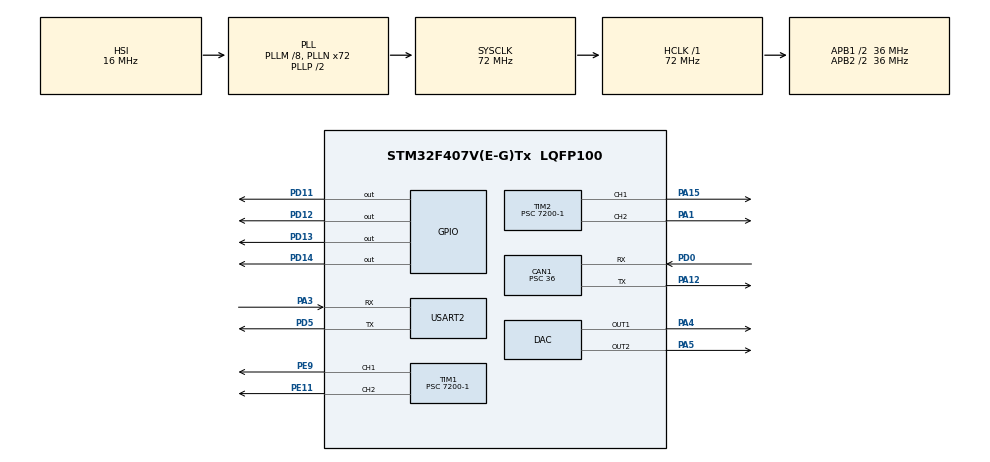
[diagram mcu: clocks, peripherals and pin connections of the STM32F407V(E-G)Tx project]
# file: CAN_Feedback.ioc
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CAN1.BS1=CAN_BS1_2TQ
CAN1.CalculateBaudRate=250000
CAN1.CalculateTimeBit=4000
CAN1.CalculateTimeQuantum=1000.0
CAN1.Prescaler=36
Mcu.Family=STM32F4
Mcu.Name=STM32F407V(E-G)Tx
Mcu.Package=LQFP100
NVIC.CAN1_RX0_IRQn=true\:0\:0\:false\:false\:true\:true\:true\:true
NVIC.PriorityGroup=NVIC_PRIORITYGROUP_0
NVIC.TIM3_IRQn=true\:0\:0\:false\:false\:true\:true\:true\:true
NVIC.USART2_IRQn=true\:0\:0\:false\:false\:true\:true\:true\:true
PA1.Signal=S_TIM2_CH2
PA12.Mode=CAN_Activate
PA12.Signal=CAN1_TX
PA15.Signal=S_TIM2_CH1_ETR
PA3.Mode=Asynchronous
PA3.Signal=USART2_RX
PA4.Signal=COMP_DAC1_group
PA5.Signal=COMP_DAC2_group
PD0.Mode=CAN_Activate
PD0.Signal=CAN1_RX
PD11.Signal=GPIO_Output
PD12.Signal=GPIO_Output
PD13.Signal=GPIO_Output
PD14.Signal=GPIO_Output
PD5.Mode=Asynchronous
PD5.Signal=USART2_TX
PE11.Signal=S_TIM1_CH2
PE9.Signal=S_TIM1_CH1
ProjectManager.HeapSize=0x200
ProjectManager.StackSize=0x400
ProjectManager.TargetToolchain=STM32CubeIDE
RCC.48MHZClocksFreq_Value=20571428.57142857
RCC.AHBFreq_Value=72000000
RCC.APB1CLKDivider=RCC_HCLK_DIV2
RCC.APB1Freq_Value=36000000
RCC.APB1TimFreq_Value=72000000
RCC.APB2CLKDivider=RCC_HCLK_DIV2
RCC.APB2Freq_Value=36000000
RCC.APB2TimFreq_Value=72000000
RCC.CortexFreq_Value=72000000
RCC.HCLKFreq_Value=72000000
RCC.HSE_VALUE=8000000
RCC.HSI_VALUE=16000000
RCC.LSE_VALUE=32768
RCC.PLLM=8
RCC.PLLN=72
RCC.PLLQ=7
RCC.PWREXT_OverDrive=PWREXT_OverDrive_DESACTIVATED
RCC.SYSCLKFreq_VALUE=72000000
RCC.SYSCLKSource=RCC_SYSCLKSOURCE_PLLCLK
RCC.VCOOutputFreq_Value=144000000
SH.COMP_DAC1_group.0=DAC_OUT1,DAC_OUT1
SH.COMP_DAC2_group.0=DAC_OUT2,DAC_OUT2
SH.S_TIM1_CH1.0=TIM1_CH1,PWM Generation1 CH1
SH.S_TIM1_CH2.0=TIM1_CH2,PWM Generation2 CH2
SH.S_TIM2_CH1_ETR.0=TIM2_CH1,PWM Generation1 CH1
SH.S_TIM2_CH2.0=TIM2_CH2,PWM Generation2 CH2
TIM1.AutoReloadPreload=TIM_AUTORELOAD_PRELOAD_ENABLE
TIM1.Channel-PWM\ Generation1\ CH1=TIM_CHANNEL_1
TIM1.Channel-PWM\ Generation2\ CH2=TIM_CHANNEL_2
TIM1.Period=20-1
TIM1.Prescaler=7200-1
TIM2.AutoReloadPreload=TIM_AUTORELOAD_PRELOAD_ENABLE
TIM2.Channel-PWM\ Generation1\ CH1=TIM_CHANNEL_1
TIM2.Channel-PWM\ Generation2\ CH2=TIM_CHANNEL_2
TIM2.Period=20-1
TIM2.Prescaler=7200-1
TIM3.Period=7200-1
TIM3.Prescaler=10000-1
USART2.VirtualMode=VM_ASYNC
VP_TIM3_VS_ClockSourceINT.Mode=Internal
board=STM32F407G-DISC1

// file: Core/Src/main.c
/* USER CODE BEGIN Header */
/**
 ******************************************************************************
 * @file           : main.c
 * @brief          : Main program body
 ******************************************************************************
 * @attention
 *
 * Copyright (c) 2022 STMicroelectronics.
 * All rights reserved.
 *
 * This software is licensed under terms that can be found in the LICENSE file
 * in the root directory of this software component.
 * If no LICENSE file comes with this software, it is provided AS-IS.
 *
 ******************************************************************************
 */
/* USER CODE END Header */
#include "main.h"
#include <stdlib.h>

/* USER CODE BEGIN PD */
#define Conv 2.1
/* USER CODE END PD */

typedef struct pidVar {
	float kp;
	float kd;
	float ki;

	int sum;
	int lastError;

	int hardLimitMax;
	int hardLimitMin;

	int speedControl;

} pidVar;
#define maxA 60
#define setA 330

#define STEER_DEADZONE 20
#define ERROR_THRESH 5
CAN_HandleTypeDef hcan1;

DAC_HandleTypeDef hdac;

TIM_HandleTypeDef htim1;
TIM_HandleTypeDef htim2;
TIM_HandleTypeDef htim3;

UART_HandleTypeDef huart2;

/* USER CODE BEGIN PV */
CAN_RxHeaderTypeDef Rxheader;
uint8_t Rxmsg[8];
uint8_t uartbuf[32];
uint8_t uartbufhere[6];
uint16_t limit = 0;
uint16_t ibus_data[6];
uint16_t ch_index[6];
uint16_t bf_index[14];
int angle = 0;
uint16_t angleRec = 0;
uint16_t brake_on = 0;
uint16_t brakeVal = 0;
uint16_t f_sw = 0;
uint16_t r_sw = 0;
float DAC_vol = 0.0;
uint8_t speedlsbl = 0;
uint8_t speedmsbl = 0;
uint16_t speedl = 0;
uint8_t speedlsbr = 0;
uint8_t speedmsbr = 0;
uint8_t voltagemsbl = 0;
uint8_t voltagemsbr = 0;
uint8_t voltagelsbl = 0;
uint8_t voltagelsbr = 0;
uint8_t currentlsbl = 0;
uint8_t currentlsbr = 0;
uint8_t currentmsbl = 0;
uint8_t currentmsbr = 0;
uint16_t speedr = 0;
float currentr = 0;
uint16_t voltager = 0;
float currentl = 0;
uint16_t voltagel = 0;
int speeddif = 0;

float spd = 0;
int steeringFeedback = 0, error = 0;
int steeringCommand = 500, speedCommand = 0, vehicleDir = 0;
float outputSteering, outputHubL, outputHubR;
pidVar pidPot = { 50, 10, 0.1, 0, 0, 1024, -1024, 0 };
pidVar pidHubL = { 2, 10, 0.09, 0, 0, 2000, 0, 1 };
pidVar pidHubR = { 2, 10, 0.09, 0, 0, 2000, 0, 1 };
/* USER CODE END PV */

void SystemClock_Config(void);
static void MX_GPIO_Init(void);
static void MX_DAC_Init(void);
static void MX_TIM2_Init(void);
static void MX_USART2_UART_Init(void);
static void MX_TIM1_Init(void);
static void MX_CAN1_Init(void);
static void MX_TIM3_Init(void);

/* USER CODE BEGIN 0 */

float pidController(pidVar *pid, int error, int errorThresh, int position) {
	if (abs(error) > errorThresh)
		pid->sum += error;
	else if (abs(error) > errorThresh && !pid->speedControl)
		pid->sum = 0;
	float finalVal = pid->kp * error + pid->ki * pid->sum
			+ pid->kd * (error - pid->lastError);
	pid->lastError = error;
	if (finalVal > pid->hardLimitMax)
		return pid->hardLimitMax;
	else if (finalVal < pid->hardLimitMin)
		return pid->hardLimitMin;
	return finalVal;
}

void Steer_left(int angle) {
	HAL_TIM_PWM_Start(&htim2, TIM_CHANNEL_2);
	htim2.Instance->CCR2 = angle;
	htim2.Instance->CCR1 = 0;

}

void Steer_right(int angle) {
	HAL_TIM_PWM_Start(&htim2, TIM_CHANNEL_1);
	htim2.Instance->CCR1 = angle;
	htim2.Instance->CCR2 = 0;
}

void HAL_CAN_RxFifo0MsgPendingCallback(CAN_HandleTypeDef *hcan) {
	HAL_CAN_GetRxMessage(&hcan1, CAN_FILTER_FIFO0, &Rxheader, Rxmsg);
	if (Rxheader.ExtId == 0x0CF11E06) {
		speedlsbl = Rxmsg[0];
		speedmsbl = Rxmsg[1];
		voltagelsbl = Rxmsg[4];
		voltagemsbl = Rxmsg[5];
		currentlsbl = Rxmsg[2];
		currentmsbl = Rxmsg[3];
		speedl = (256) * speedmsbl + speedlsbl;
		voltagel = ((256) * voltagemsbl + voltagelsbl) / 10;
		currentl = ((256) * currentmsbl + currentlsbl) / 10.0;
		outputHubL = pidController(&pidHubL, (speedCommand - speedl),
		ERROR_THRESH, speedl);
		if (vehicleDir == 0) {
			HAL_GPIO_WritePin(GPIOD, GPIO_PIN_12, 1);
			HAL_GPIO_WritePin(GPIOD, GPIO_PIN_14, 0);
		} else if (vehicleDir == 1) {
			HAL_GPIO_WritePin(GPIOD, GPIO_PIN_12, 0);
			HAL_GPIO_WritePin(GPIOD, GPIO_PIN_14, 0);
		}
		HAL_DAC_SetValue(&hdac, DAC_CHANNEL_2, DAC_ALIGN_12B_R, outputHubL);
	} else if (Rxheader.ExtId == 0x0CF11E05) {
		speedlsbr = Rxmsg[0];
		speedmsbr = Rxmsg[1];
		currentlsbr = Rxmsg[2];
		currentmsbr = Rxmsg[3];
		voltagelsbr = Rxmsg[4];
		voltagemsbr = Rxmsg[5];
		voltager = ((256) * voltagemsbr + voltagelsbr) / 10;
		currentr = (((256) * currentmsbr + currentlsbr) / 10.0);
		speedr = (256) * speedmsbr + (speedlsbr);
		outputHubR = pidController(&pidHubR, (speedCommand - speedr),
		ERROR_THRESH, speedr);
		if (vehicleDir == 0) {
			HAL_GPIO_WritePin(GPIOD, GPIO_PIN_12, 1);
			HAL_GPIO_WritePin(GPIOD, GPIO_PIN_14, 0);
		} else if (vehicleDir == 1) {
			HAL_GPIO_WritePin(GPIOD, GPIO_PIN_12, 0);
			HAL_GPIO_WritePin(GPIOD, GPIO_PIN_14, 0);
		}
		HAL_DAC_SetValue(&hdac, DAC_CHANNEL_1, DAC_ALIGN_12B_R, outputHubR);
	}

	switch (Rxheader.StdId) {
	case 0x41:
		HAL_DAC_SetValue(&hdac, DAC_CHANNEL_1, DAC_ALIGN_12B_R, 0);
		HAL_DAC_SetValue(&hdac, DAC_CHANNEL_2, DAC_ALIGN_12B_R, 0);
		HAL_DAC_Stop(&hdac, DAC_CHANNEL_1);
		HAL_DAC_Stop(&hdac, DAC_CHANNEL_2);
		break;
	case 0x36:
		steeringFeedback = Rxmsg[0] | (Rxmsg[1] << 8);
		outputSteering = pidController(&pidPot,
				(steeringCommand - steeringFeedback), ERROR_THRESH,
				steeringFeedback);
		break;
	case 0x69:
		steeringCommand = Rxmsg[0] | (Rxmsg[1] << 8);
		speedCommand = Rxmsg[2] | (Rxmsg[3] << 8);
		vehicleDir = Rxmsg[4]; //0->fwd ; 1-> bkwd
		break;
	}
	Rxheader.StdId = 0;
	Rxheader.ExtId = 0;
}
/* USER CODE END 0 */

int main(void) {

	/* MCU Configuration--------------------------------------------------------*/

	/* Reset of all peripherals, Initializes the Flash interface and the Systick. */
	;
	HAL_Init();

	/* Configure the system clock */
	SystemClock_Config();

	/* Initialize all configured peripherals */
	MX_GPIO_Init();
	MX_DAC_Init();
	MX_TIM2_Init();
	MX_USART2_UART_Init();
	MX_TIM1_Init();
	MX_CAN1_Init();
	MX_TIM3_Init();
	/* USER CODE BEGIN 2 */
	HAL_DAC_Start(&hdac, DAC_CHANNEL_1);
	HAL_DAC_Start(&hdac, DAC_CHANNEL_2);
	HAL_GPIO_WritePin(GPIOD, GPIO_PIN_11, SET);
	HAL_CAN_Start(&hcan1);
	HAL_CAN_ActivateNotification(&hcan1, CAN_IT_RX_FIFO0_MSG_PENDING);
	/* USER CODE END 2 */

	// Burn the brake....Skrtttt
	HAL_GPIO_WritePin(GPIOD, GPIO_PIN_13, 1);

	// Burn the motors
//	HAL_GPIO_WritePin(GPIOD, GPIO_PIN_14, 0);
//	HAL_GPIO_WritePin(GPIOD, GPIO_PIN_12, 1);

	/* Infinite loop */
	/* USER CODE BEGIN WHILE */
	while (1) {
		angle = outputSteering / 17; // 1024 * 60;
		//	  	HAL_UART_Receive_IT(&huart2, data, 8);
		if (angle > STEER_DEADZONE) {
			Steer_right(angle);
		} else if (angle < -STEER_DEADZONE) {
			Steer_left(-angle);
		} else {
			HAL_TIM_PWM_Stop(&htim2, TIM_CHANNEL_1);
			HAL_TIM_PWM_Stop(&htim2, TIM_CHANNEL_2);
			htim2.Instance->CCR1 = 0;
			htim2.Instance->CCR2 = 0;
		}

		if(speedCommand==0)
			HAL_GPIO_WritePin(GPIOD, GPIO_PIN_13, 0);
		else
			HAL_GPIO_WritePin(GPIOD, GPIO_PIN_13, 1);

		/* USER CODE END WHILE */

	}
}

void SystemClock_Config(void) {
	RCC_OscInitTypeDef RCC_OscInitStruct = { 0 };
	RCC_ClkInitTypeDef RCC_ClkInitStruct = { 0 };

	/** Configure the main internal regulator output voltage
	 */
	__HAL_RCC_PWR_CLK_ENABLE();
	__HAL_PWR_VOLTAGESCALING_CONFIG(PWR_REGULATOR_VOLTAGE_SCALE1);

	/** Initializes the RCC Oscillators according to the specified parameters
	 * in the RCC_OscInitTypeDef structure.
	 */
	RCC_OscInitStruct.OscillatorType = RCC_OSCILLATORTYPE_HSI;
	RCC_OscInitStruct.HSIState = RCC_HSI_ON;
	RCC_OscInitStruct.HSICalibrationValue = RCC_HSICALIBRATION_DEFAULT;
	RCC_OscInitStruct.PLL.PLLState = RCC_PLL_ON;
	RCC_OscInitStruct.PLL.PLLSource = RCC_PLLSOURCE_HSI;
	RCC_OscInitStruct.PLL.PLLM = 8;
	RCC_OscInitStruct.PLL.PLLN = 72;
	RCC_OscInitStruct.PLL.PLLP = RCC_PLLP_DIV2;
	RCC_OscInitStruct.PLL.PLLQ = 7;
	if (HAL_RCC_OscConfig(&RCC_OscInitStruct) != HAL_OK) {
		Error_Handler();
	}

	/** Initializes the CPU, AHB and APB buses clocks
	 */
	RCC_ClkInitStruct.ClockType = RCC_CLOCKTYPE_HCLK | RCC_CLOCKTYPE_SYSCLK
			| RCC_CLOCKTYPE_PCLK1 | RCC_CLOCKTYPE_PCLK2;
	RCC_ClkInitStruct.SYSCLKSource = RCC_SYSCLKSOURCE_PLLCLK;
	RCC_ClkInitStruct.AHBCLKDivider = RCC_SYSCLK_DIV1;
	RCC_ClkInitStruct.APB1CLKDivider = RCC_HCLK_DIV2;
	RCC_ClkInitStruct.APB2CLKDivider = RCC_HCLK_DIV2;

	if (HAL_RCC_ClockConfig(&RCC_ClkInitStruct, FLASH_LATENCY_2) != HAL_OK) {
		Error_Handler();
	}
}

static void MX_CAN1_Init(void) {

	hcan1.Instance = CAN1;
	hcan1.Init.Prescaler = 36;
	hcan1.Init.Mode = CAN_MODE_NORMAL;
	hcan1.Init.SyncJumpWidth = CAN_SJW_1TQ;
	hcan1.Init.TimeSeg1 = CAN_BS1_2TQ;
	hcan1.Init.TimeSeg2 = CAN_BS2_1TQ;
	hcan1.Init.TimeTriggeredMode = DISABLE;
	hcan1.Init.AutoBusOff = DISABLE;
	hcan1.Init.AutoWakeUp = DISABLE;
	hcan1.Init.AutoRetransmission = DISABLE;
	hcan1.Init.ReceiveFifoLocked = DISABLE;
	hcan1.Init.TransmitFifoPriority = DISABLE;
	if (HAL_CAN_Init(&hcan1) != HAL_OK) {
		Error_Handler();
	}
	/* USER CODE BEGIN CAN1_Init 2 */
	CAN_FilterTypeDef sFilter;
	sFilter.FilterBank = 0;
	sFilter.FilterMode = CAN_FILTERMODE_IDMASK;
	sFilter.FilterScale = CAN_FILTERSCALE_32BIT;
	sFilter.FilterIdHigh = 0x0000; //((ID >> 13) & 0x001F);
	sFilter.FilterIdLow = 0x0000; //((ID << 3) & 0xFFF8);
	sFilter.FilterMaskIdHigh = 0x0000;
	sFilter.FilterMaskIdLow = 0x0000;
	sFilter.FilterFIFOAssignment = CAN_FILTER_FIFO0;
	sFilter.FilterActivation = ENABLE;
	sFilter.SlaveStartFilterBank = 0;
	HAL_CAN_ConfigFilter(&hcan1, &sFilter);
	/* USER CODE END CAN1_Init 2 */

}

static void MX_DAC_Init(void) {

	DAC_ChannelConfTypeDef sConfig = { 0 };

	/** DAC Initialization
	 */
	hdac.Instance = DAC;
	if (HAL_DAC_Init(&hdac) != HAL_OK) {
		Error_Handler();
	}

	/** DAC channel OUT1 config
	 */
	sConfig.DAC_Trigger = DAC_TRIGGER_NONE;
	sConfig.DAC_OutputBuffer = DAC_OUTPUTBUFFER_ENABLE;
	if (HAL_DAC_ConfigChannel(&hdac, &sConfig, DAC_CHANNEL_1) != HAL_OK) {
		Error_Handler();
	}

	/** DAC channel OUT2 config
	 */
	if (HAL_DAC_ConfigChannel(&hdac, &sConfig, DAC_CHANNEL_2) != HAL_OK) {
		Error_Handler();
	}

}

static void MX_TIM1_Init(void) {

	TIM_MasterConfigTypeDef sMasterConfig = { 0 };
	TIM_OC_InitTypeDef sConfigOC = { 0 };
	TIM_BreakDeadTimeConfigTypeDef sBreakDeadTimeConfig = { 0 };

	htim1.Instance = TIM1;
	htim1.Init.Prescaler = 72 - 1;
	htim1.Init.CounterMode = TIM_COUNTERMODE_UP;
	htim1.Init.Period = 100 - 1;
	htim1.Init.ClockDivision = TIM_CLOCKDIVISION_DIV1;
	htim1.Init.RepetitionCounter = 0;
	htim1.Init.AutoReloadPreload = TIM_AUTORELOAD_PRELOAD_ENABLE;
	if (HAL_TIM_PWM_Init(&htim1) != HAL_OK) {
		Error_Handler();
	}
	sMasterConfig.MasterOutputTrigger = TIM_TRGO_RESET;
	sMasterConfig.MasterSlaveMode = TIM_MASTERSLAVEMODE_DISABLE;
	if (HAL_TIMEx_MasterConfigSynchronization(&htim1, &sMasterConfig)
			!= HAL_OK) {
		Error_Handler();
	}
	sConfigOC.OCMode = TIM_OCMODE_PWM1;
	sConfigOC.Pulse = 0;
	sConfigOC.OCPolarity = TIM_OCPOLARITY_HIGH;
	sConfigOC.OCNPolarity = TIM_OCNPOLARITY_HIGH;
	sConfigOC.OCFastMode = TIM_OCFAST_DISABLE;
	sConfigOC.OCIdleState = TIM_OCIDLESTATE_RESET;
	sConfigOC.OCNIdleState = TIM_OCNIDLESTATE_RESET;
	if (HAL_TIM_PWM_ConfigChannel(&htim1, &sConfigOC, TIM_CHANNEL_1)
			!= HAL_OK) {
		Error_Handler();
	}
	if (HAL_TIM_PWM_ConfigChannel(&htim1, &sConfigOC, TIM_CHANNEL_2)
			!= HAL_OK) {
		Error_Handler();
	}
	sBreakDeadTimeConfig.OffStateRunMode = TIM_OSSR_DISABLE;
	sBreakDeadTimeConfig.OffStateIDLEMode = TIM_OSSI_DISABLE;
	sBreakDeadTimeConfig.LockLevel = TIM_LOCKLEVEL_OFF;
	sBreakDeadTimeConfig.DeadTime = 0;
	sBreakDeadTimeConfig.BreakState = TIM_BREAK_DISABLE;
	sBreakDeadTimeConfig.BreakPolarity = TIM_BREAKPOLARITY_HIGH;
	sBreakDeadTimeConfig.AutomaticOutput = TIM_AUTOMATICOUTPUT_DISABLE;
	if (HAL_TIMEx_ConfigBreakDeadTime(&htim1, &sBreakDeadTimeConfig)
			!= HAL_OK) {
		Error_Handler();
	}
	HAL_TIM_MspPostInit(&htim1);

}

static void MX_TIM2_Init(void) {

	TIM_MasterConfigTypeDef sMasterConfig = { 0 };
	TIM_OC_InitTypeDef sConfigOC = { 0 };

	htim2.Instance = TIM2;
	htim2.Init.Prescaler = 72 - 1;
	htim2.Init.CounterMode = TIM_COUNTERMODE_UP;
	htim2.Init.Period = 100 - 1;
	htim2.Init.ClockDivision = TIM_CLOCKDIVISION_DIV1;
	htim2.Init.AutoReloadPreload = TIM_AUTORELOAD_PRELOAD_ENABLE;
	if (HAL_TIM_PWM_Init(&htim2) != HAL_OK) {
		Error_Handler();
	}
	sMasterConfig.MasterOutputTrigger = TIM_TRGO_RESET;
	sMasterConfig.MasterSlaveMode = TIM_MASTERSLAVEMODE_DISABLE;
	if (HAL_TIMEx_MasterConfigSynchronization(&htim2, &sMasterConfig)
			!= HAL_OK) {
		Error_Handler();
	}
	sConfigOC.OCMode = TIM_OCMODE_PWM1;
	sConfigOC.Pulse = 0;
	sConfigOC.OCPolarity = TIM_OCPOLARITY_HIGH;
	sConfigOC.OCFastMode = TIM_OCFAST_DISABLE;
	if (HAL_TIM_PWM_ConfigChannel(&htim2, &sConfigOC, TIM_CHANNEL_1)
			!= HAL_OK) {
		Error_Handler();
	}
	if (HAL_TIM_PWM_ConfigChannel(&htim2, &sConfigOC, TIM_CHANNEL_2)
			!= HAL_OK) {
		Error_Handler();
	}
	HAL_TIM_MspPostInit(&htim2);

}

static void MX_TIM3_Init(void) {

	TIM_ClockConfigTypeDef sClockSourceConfig = { 0 };
	TIM_MasterConfigTypeDef sMasterConfig = { 0 };

	htim3.Instance = TIM3;
	htim3.Init.Prescaler = 10000 - 1;
	htim3.Init.CounterMode = TIM_COUNTERMODE_UP;
	htim3.Init.Period = 7200 - 1;
	htim3.Init.ClockDivision = TIM_CLOCKDIVISION_DIV1;
	htim3.Init.AutoReloadPreload = TIM_AUTORELOAD_PRELOAD_DISABLE;
	if (HAL_TIM_Base_Init(&htim3) != HAL_OK) {
		Error_Handler();
	}
	sClockSourceConfig.ClockSource = TIM_CLOCKSOURCE_INTERNAL;
	if (HAL_TIM_ConfigClockSource(&htim3, &sClockSourceConfig) != HAL_OK) {
		Error_Handler();
	}
	sMasterConfig.MasterOutputTrigger = TIM_TRGO_RESET;
	sMasterConfig.MasterSlaveMode = TIM_MASTERSLAVEMODE_DISABLE;
	if (HAL_TIMEx_MasterConfigSynchronization(&htim3, &sMasterConfig)
			!= HAL_OK) {
		Error_Handler();
	}

}

static void MX_USART2_UART_Init(void) {

	huart2.Instance = USART2;
	huart2.Init.BaudRate = 115200;
	huart2.Init.WordLength = UART_WORDLENGTH_8B;
	huart2.Init.StopBits = UART_STOPBITS_1;
	huart2.Init.Parity = UART_PARITY_NONE;
	huart2.Init.Mode = UART_MODE_TX_RX;
	huart2.Init.HwFlowCtl = UART_HWCONTROL_NONE;
	huart2.Init.OverSampling = UART_OVERSAMPLING_16;
	if (HAL_UART_Init(&huart2) != HAL_OK) {
		Error_Handler();
	}

}

static void MX_GPIO_Init(void) {
	GPIO_InitTypeDef GPIO_InitStruct = { 0 };

	/* GPIO Ports Clock Enable */
	__HAL_RCC_GPIOA_CLK_ENABLE();
	__HAL_RCC_GPIOE_CLK_ENABLE();
	__HAL_RCC_GPIOD_CLK_ENABLE();

	/*Configure GPIO pin Output Level */
	HAL_GPIO_WritePin(GPIOD,
	GPIO_PIN_11 | GPIO_PIN_12 | GPIO_PIN_13 | GPIO_PIN_14, GPIO_PIN_RESET);

	/*Configure GPIO pins : PD11 PD12 PD13 PD14 */
	GPIO_InitStruct.Pin = GPIO_PIN_11 | GPIO_PIN_12 | GPIO_PIN_13 | GPIO_PIN_14;
	GPIO_InitStruct.Mode = GPIO_MODE_OUTPUT_PP;
	GPIO_InitStruct.Pull = GPIO_NOPULL;
	GPIO_InitStruct.Speed = GPIO_SPEED_FREQ_LOW;
	HAL_GPIO_Init(GPIOD, &GPIO_InitStruct);

}

void Error_Handler(void) {
	__disable_irq();
	while (1) {
	}
}
